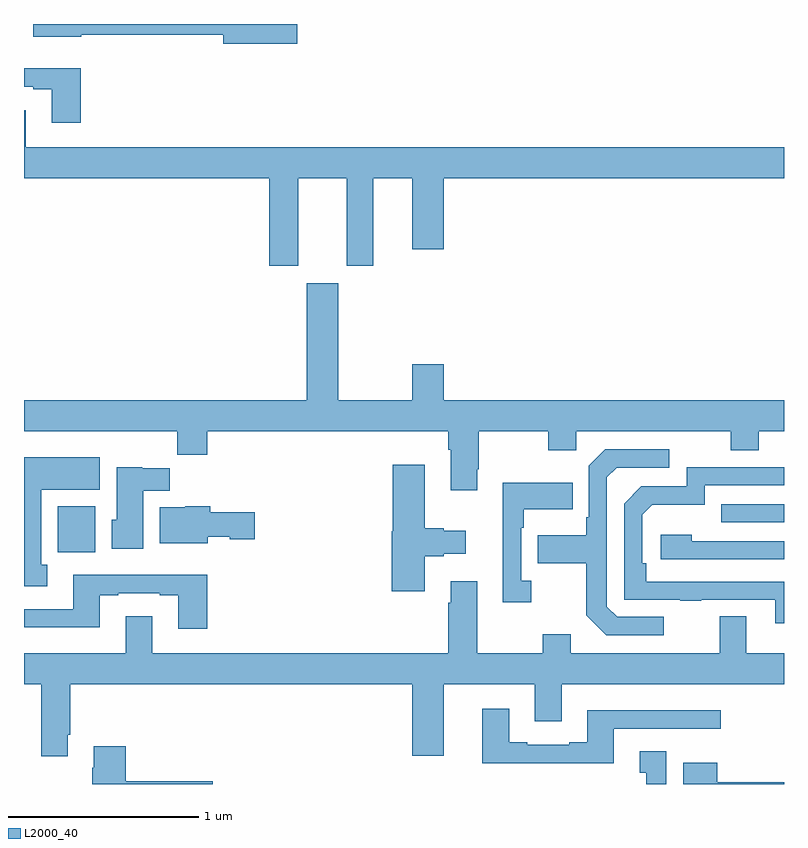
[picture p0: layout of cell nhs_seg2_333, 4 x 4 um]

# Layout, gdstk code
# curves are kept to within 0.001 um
import gdstk
lib = gdstk.Library(unit=1e-6, precision=1e-09)
def R(c, l, rs):  # rectangles x0, y0, x1, y1
    for r in rs: c.add(gdstk.rectangle(r[:2], r[2:], *l))
def P(c, l, *ps):  # polygons
    for p in ps: c.add(gdstk.Polygon(p, *l))
L2000_40 = (2000, 40)

nhs_seg2_333 = lib.new_cell('nhs_seg2_333')
R(nhs_seg2_333, L2000_40, [(127.178,627.02,127.375,627.262), (130.669,627.177,131,627.273)])
P(nhs_seg2_333, L2000_40, [(128.437,629.8),(127.049,629.8),(127.049,629.732),(127.3,629.732),(127.3,629.743),(128.048,629.743),(128.048,629.696),(128.437,629.696)],
  [(127.298,629.566),(127,629.566),(127,629.469),(127.049,629.469),(127.049,629.457),(127.145,629.457),(127.145,629.28),(127.298,629.28)],
  [(128.443,628.988),(128.699,628.988),(128.699,628.527),(128.839,628.527),(128.839,628.988),(129.044,628.988),(129.044,628.614),(129.208,628.614),(129.208,628.988),(131,628.988),(131,629.152),(127.009,629.152),(127.009,629.347),(127,629.347),(127,628.988),(128.291,628.988),(128.291,628.527),(128.443,628.527)],
  [(129.385,627.457),(129.393,627.457),(129.393,627.656),(129.76,627.656),(129.76,627.557),(129.906,627.557),(129.906,627.656),(130.72,627.656),(130.72,627.557),(130.867,627.557),(130.867,627.656),(131,627.656),(131,627.82),(129.208,627.82),(129.208,628.009),(129.044,628.009),(129.044,627.82),(128.653,627.82),(128.653,628.435),(128.489,628.435),(128.489,627.82),(127,627.82),(127,627.656),(127.807,627.656),(127.807,627.532),(127.964,627.532),(127.964,627.656),(129.233,627.656),(129.233,627.56),(129.245,627.56),(129.245,627.345),(129.385,627.345)],
  [(130.366,626.679),(130.122,626.679),(130.068,626.733),(130.068,627.414),(130.119,627.465),(130.396,627.465),(130.396,627.561),(130.059,627.561),(129.972,627.474),(129.972,627.205),(129.96,627.205),(129.96,627.109),(129.703,627.109),(129.703,626.962),(129.96,626.962),(129.96,626.689),(130.065,626.583),(130.366,626.583)],
  [(127.123,626.954),(127.09,626.954),(127.09,627.35),(127.399,627.35),(127.399,627.52),(127,627.52),(127,626.841),(127.123,626.841)],
  [(129.109,626.999),(129.209,626.999),(129.209,627.011),(129.325,627.011),(129.325,627.133),(129.209,627.133),(129.209,627.146),(129.109,627.146),(129.109,627.481),(128.942,627.481),(128.942,627.129),(128.936,627.129),(128.936,626.814),(129.109,626.814)],
  [(131,626.864),(130.274,626.865),(130.274,626.962),(130.254,626.962),(130.254,627.216),(130.307,627.269),(130.584,627.269),(130.584,627.372),(131,627.372),(131,627.468),(130.488,627.468),(130.488,627.366),(130.248,627.366),(130.158,627.276),(130.158,626.769),(130.453,626.769),(130.453,626.764),(130.565,626.764),(130.565,626.769),(130.955,626.769),(130.955,626.646),(131,626.646)],
  [(127.627,627.344),(127.766,627.344),(127.766,627.462),(127.623,627.462),(127.623,627.466),(127.487,627.466),(127.487,627.192),(127.463,627.192),(127.463,627.038),(127.627,627.038)],
  [(129.67,626.87),(129.618,626.87),(129.618,627.149),(129.631,627.149),(129.631,627.245),(129.887,627.245),(129.887,627.385),(129.521,627.385),(129.521,626.757),(129.67,626.757)],
  [(127.966,627.101),(128.082,627.101),(128.082,627.089),(128.215,627.089),(128.215,627.231),(127.979,627.231),(127.979,627.262),(127.848,627.262),(127.848,627.256),(127.715,627.256),(127.715,627.068),(127.966,627.068)],
  [(131,627.078),(130.514,627.078),(130.514,627.112),(130.352,627.112),(130.352,626.982),(131,626.982)],
  [(127.964,626.902),(127.259,626.902),(127.259,626.721),(127,626.721),(127,626.624),(127.399,626.624),(127.399,626.793),(127.495,626.793),(127.495,626.805),(127.715,626.805),(127.715,626.793),(127.811,626.793),(127.811,626.616),(127.964,626.616)],
  [(127.231,626.059),(127.244,626.059),(127.244,626.324),(129.044,626.324),(129.044,625.95),(129.208,625.95),(129.208,626.324),(129.689,626.324),(129.689,626.13),(129.829,626.13),(129.829,626.324),(131,626.324),(131,626.488),(130.801,626.488),(130.801,626.683),(130.661,626.683),(130.661,626.488),(129.877,626.488),(129.877,626.587),(129.73,626.587),(129.73,626.488),(129.385,626.488),(129.385,626.866),(129.245,626.866),(129.245,626.753),(129.233,626.753),(129.233,626.488),(127.675,626.488),(127.675,626.683),(127.535,626.683),(127.535,626.488),(127,626.488),(127,626.324),(127.091,626.324),(127.091,625.947),(127.231,625.947)],
  [(130.105,626.091),(130.666,626.091),(130.666,626.188),(129.965,626.188),(129.965,626.02),(129.869,626.02),(129.869,626.007),(129.649,626.007),(129.649,626.02),(129.553,626.02),(129.553,626.197),(129.413,626.197),(129.413,625.91),(130.105,625.91)],
  [(127.993,625.814),(127.535,625.814),(127.535,625.999),(127.367,625.999),(127.367,625.886),(127.36,625.886),(127.36,625.8),(127.993,625.8)],
  [(130.381,625.972),(130.241,625.972),(130.241,625.859),(130.274,625.859),(130.274,625.8),(130.381,625.8)],
  [(131,625.808),(130.648,625.808),(130.648,625.912),(130.469,625.912),(130.469,625.8),(131,625.8)])

lib.write_gds('nhs_seg2_333.gds')
